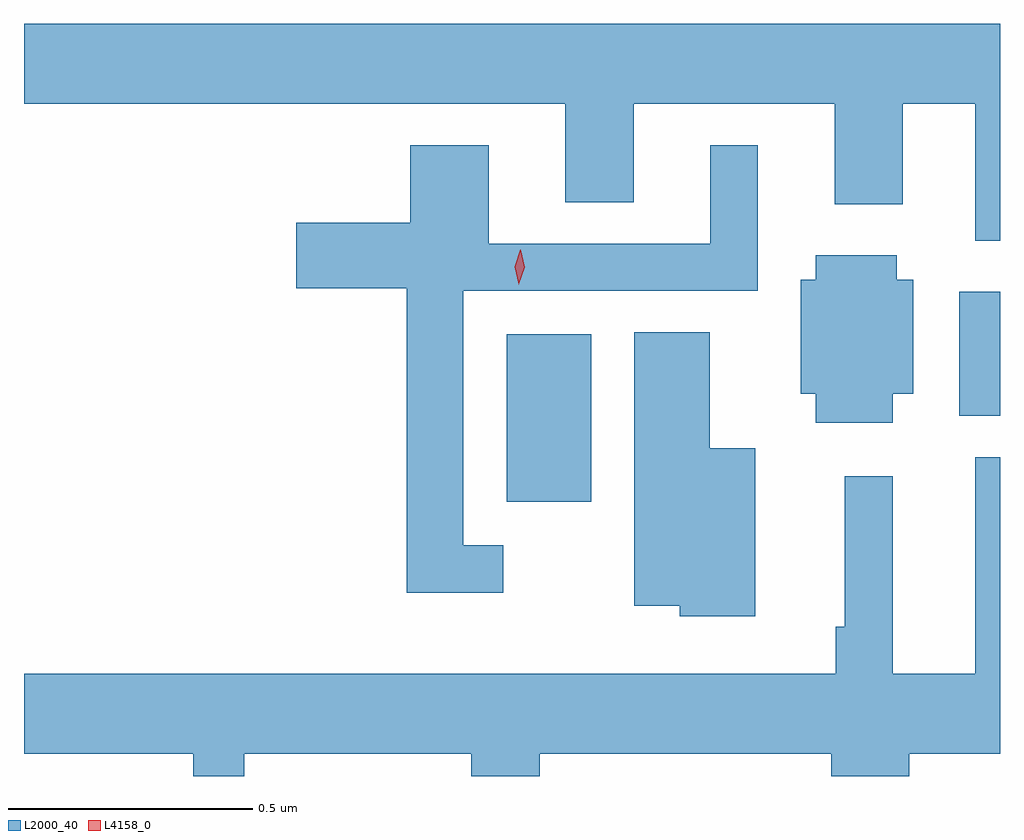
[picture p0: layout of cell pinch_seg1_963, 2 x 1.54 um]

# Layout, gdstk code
import gdstk
lib = gdstk.Library(unit=1e-6, precision=1e-09)
def R(c, l, rs):  # rectangles x0, y0, x1, y1
    for r in rs: c.add(gdstk.rectangle(r[:2], r[2:], *l))
def P(c, l, *ps):  # polygons
    for p in ps: c.add(gdstk.Polygon(p, *l))
L2000_40 = (2000, 40)
L4158_0 = (4158, 0)

pinch_seg1_963 = lib.new_cell('pinch_seg1_963')
R(pinch_seg1_963, L2000_40, [(205.949,570.896,206.122,571.24), (206.876,571.073,206.96,571.327)])
P(pinch_seg1_963, L2000_40, [(206.96,571.876),(204.96,571.876),(204.96,571.712),(206.069,571.712),(206.069,571.51),(206.209,571.51),(206.209,571.712),(206.621,571.712),(206.621,571.506),(206.761,571.506),(206.761,571.712),(206.909,571.712),(206.909,571.431),(206.96,571.431)],
  [(205.942,570.807),(205.86,570.807),(205.86,571.329),(206.464,571.329),(206.464,571.627),(206.366,571.627),(206.366,571.425),(205.912,571.425),(205.912,571.627),(205.751,571.627),(205.751,571.468),(205.518,571.468),(205.518,571.334),(205.744,571.334),(205.744,570.71),(205.942,570.71)],
  [(206.74,571.118),(206.782,571.118),(206.782,571.351),(206.748,571.351),(206.748,571.402),(206.582,571.402),(206.582,571.351),(206.552,571.351),(206.552,571.118),(206.582,571.118),(206.582,571.058),(206.74,571.058)],
  [(206.458,571.006),(206.365,571.006),(206.365,571.244),(206.21,571.244),(206.21,570.683),(206.304,570.683),(206.304,570.662),(206.458,570.662)],
  [(205.411,570.38),(205.877,570.38),(205.877,570.334),(206.017,570.334),(206.017,570.38),(206.614,570.38),(206.614,570.334),(206.774,570.334),(206.774,570.38),(206.96,570.38),(206.96,570.988),(206.909,570.988),(206.909,570.544),(206.74,570.544),(206.74,570.949),(206.642,570.949),(206.642,570.64),(206.623,570.64),(206.623,570.544),(204.96,570.544),(204.96,570.38),(205.307,570.38),(205.307,570.334),(205.411,570.334)])
P(pinch_seg1_963, L4158_0, [(205.974,571.341),(205.974,571.342),(205.966,571.378),(205.977,571.413),(205.977,571.413),(205.978,571.413),(205.986,571.377),(205.974,571.342)])

lib.write_gds('pinch_seg1_963.gds')
